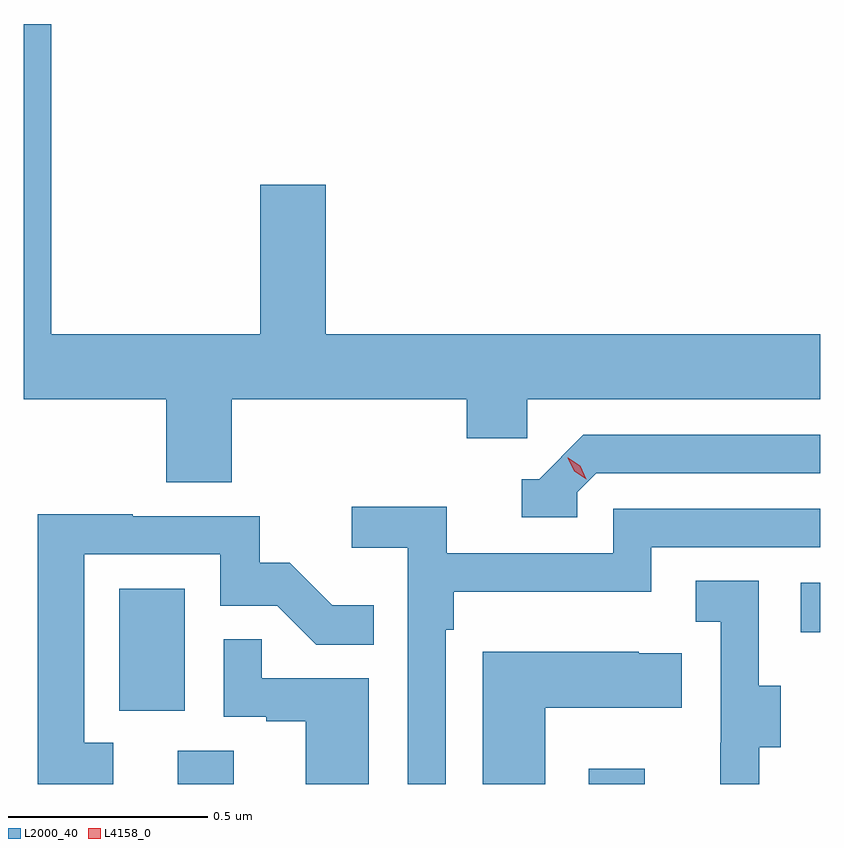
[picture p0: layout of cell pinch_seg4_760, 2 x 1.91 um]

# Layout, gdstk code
import gdstk
lib = gdstk.Library(unit=1e-6, precision=1e-09)
def R(c, l, rs):  # rectangles x0, y0, x1, y1
    for r in rs: c.add(gdstk.rectangle(r[:2], r[2:], *l))
def P(c, l, *ps):  # polygons
    for p in ps: c.add(gdstk.Polygon(p, *l))
L2000_40 = (2000, 40)
L4158_0 = (4158, 0)

pinch_seg4_760 = lib.new_cell('pinch_seg4_760')
R(pinch_seg4_760, L2000_40, [(860.105,822.494,860.245,822.578), (861.137,822.494,861.277,822.532), (859.958,822.678,860.122,822.985), (861.669,822.875,861.718,822.999)])
P(pinch_seg4_760, L2000_40, [(860.24,823.46),(860.831,823.46),(860.831,823.362),(860.982,823.362),(860.982,823.46),(861.718,823.46),(861.718,823.624),(860.476,823.624),(860.476,823.999),(860.312,823.999),(860.312,823.624),(859.787,823.624),(859.787,824.403),(859.718,824.403),(859.718,823.46),(860.075,823.46),(860.075,823.252),(860.24,823.252)],
  [(861.108,823.227),(861.156,823.275),(861.718,823.275),(861.718,823.371),(861.123,823.371),(861.012,823.26),(860.969,823.26),(860.969,823.164),(861.108,823.164)],
  [(860.778,822.881),(860.798,822.881),(860.798,822.977),(861.294,822.977),(861.294,823.089),(861.718,823.089),(861.718,823.185),(861.198,823.185),(861.198,823.074),(860.78,823.074),(860.78,823.19),(860.541,823.19),(860.541,823.088),(860.682,823.088),(860.682,822.494),(860.778,822.494)],
  [(859.942,822.597),(859.869,822.597),(859.869,823.071),(860.211,823.071),(860.211,822.942),(860.355,822.942),(860.453,822.844),(860.597,822.844),(860.597,822.943),(860.493,822.943),(860.386,823.05),(860.31,823.05),(860.31,823.167),(859.991,823.167),(859.991,823.172),(859.753,823.172),(859.753,822.494),(859.942,822.494)],
  [(861.565,822.586),(861.619,822.586),(861.619,822.741),(861.564,822.741),(861.564,823.004),(861.405,823.004),(861.405,822.901),(861.468,822.901),(861.468,822.597),(861.467,822.597),(861.467,822.494),(861.565,822.494)],
  [(860.584,822.759),(860.315,822.759),(860.315,822.857),(860.22,822.857),(860.22,822.663),(860.327,822.663),(860.327,822.651),(860.426,822.651),(860.426,822.494),(860.584,822.494)],
  [(861.028,822.686),(861.371,822.686),(861.371,822.823),(861.263,822.823),(861.263,822.826),(860.87,822.826),(860.87,822.494),(861.028,822.494)])
P(pinch_seg4_760, L4158_0, [(861.131,823.26),(861.1,823.28),(861.084,823.312),(861.084,823.313),(861.085,823.313),(861.115,823.293),(861.131,823.26),(861.131,823.26)])

lib.write_gds('pinch_seg4_760.gds')
